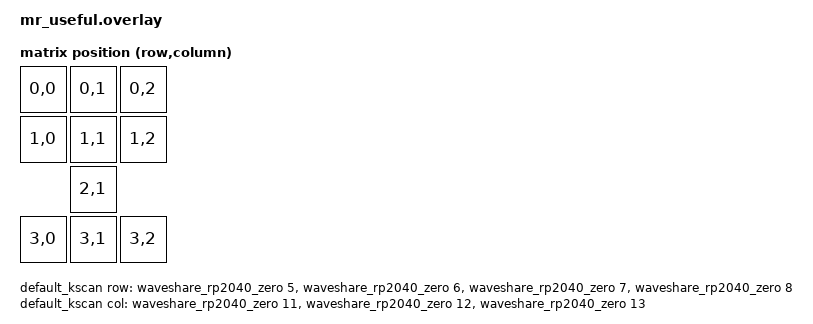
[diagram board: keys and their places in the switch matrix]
#include <dt-bindings/zmk/matrix_transform.h>

/ {
    chosen {
        zmk,kscan = &default_kscan;
        zmk,matrix_transform = &default_transform;
    };

    default_kscan: kscan {
        compatible = "zmk,kscan-gpio-matrix";
        label = "default_kscan";
        diode-direction = "col2row";

        row-gpios = <&waveshare_rp2040_zero 5 (GPIO_ACTIVE_HIGH | GPIO_PULL_DOWN)>,
                    <&waveshare_rp2040_zero 6 (GPIO_ACTIVE_HIGH | GPIO_PULL_DOWN)>,
                    <&waveshare_rp2040_zero 7 (GPIO_ACTIVE_HIGH | GPIO_PULL_DOWN)>,
                    <&waveshare_rp2040_zero 8 (GPIO_ACTIVE_HIGH | GPIO_PULL_DOWN)>;

        col-gpios = <&waveshare_rp2040_zero 11 GPIO_ACTIVE_HIGH>,
                    <&waveshare_rp2040_zero 12 GPIO_ACTIVE_HIGH>,
                    <&waveshare_rp2040_zero 13 GPIO_ACTIVE_HIGH>;
    };

    default_transform: matrix_transform {
        compatible = "zmk,matrix-transform";
        rows = <4>;
        columns = <3>;

        map = <
            RC(0,0) RC(0,1) RC(0,2)
            RC(1,0) RC(1,1) RC(1,2)
                    RC(2,1)
            RC(3,0) RC(3,1) RC(3,2)
        >;
    };
};
